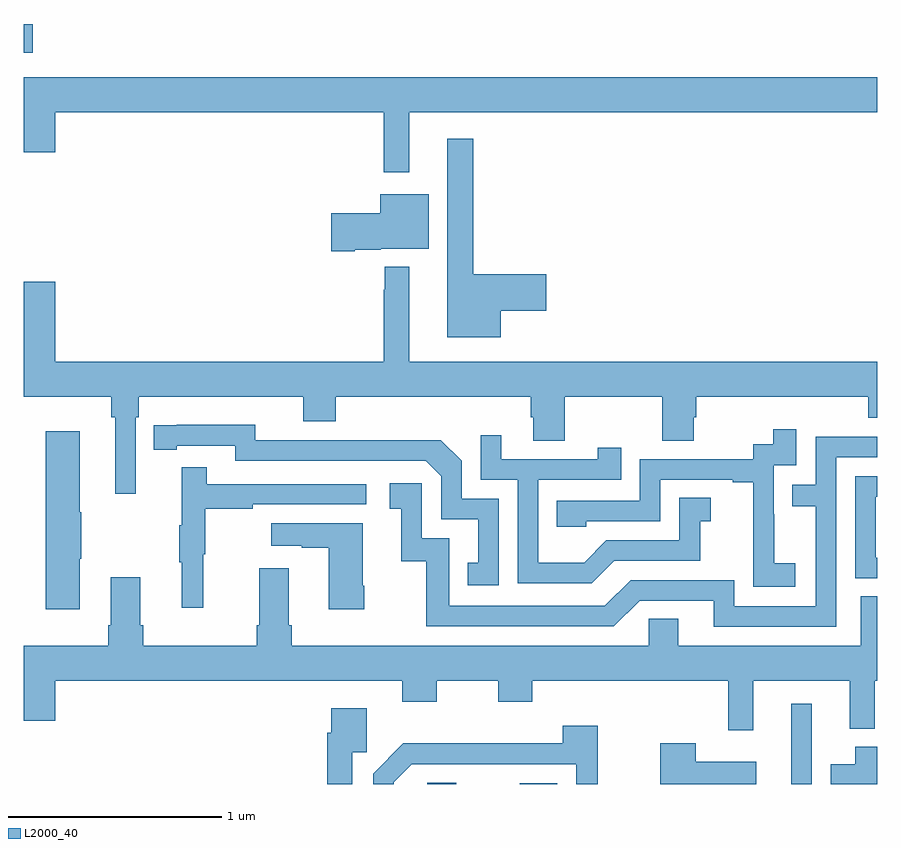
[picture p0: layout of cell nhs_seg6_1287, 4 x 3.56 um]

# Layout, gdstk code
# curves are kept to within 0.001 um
import gdstk
lib = gdstk.Library(unit=1e-6, precision=1e-09)
def R(c, l, rs):  # rectangles x0, y0, x1, y1
    for r in rs: c.add(gdstk.rectangle(r[:2], r[2:], *l))
def P(c, l, *ps):  # polygons
    for p in ps: c.add(gdstk.Polygon(p, *l))
L2000_40 = (2000, 40)

nhs_seg6_1287 = lib.new_cell('nhs_seg6_1287')
R(nhs_seg6_1287, L2000_40, [(190.89,965.5,191.026,965.507), (191.324,965.5,191.5,965.503), (192.596,965.5,192.693,965.875), (189,968.927,189.043,969.062)])
P(nhs_seg6_1287, L2000_40, [(190.807,968.648),(193,968.648),(193,968.812),(189,968.812),(189,968.46),(189.148,968.46),(189.148,968.648),(190.686,968.648),(190.686,968.367),(190.807,968.367)],
  [(191.236,967.718),(191.449,967.718),(191.449,967.889),(191.107,967.889),(191.107,968.524),(190.985,968.524),(190.985,967.595),(191.236,967.595)],
  [(190.552,968.003),(190.674,968.003),(190.674,968.009),(190.897,968.009),(190.897,968.263),(190.67,968.263),(190.67,968.175),(190.44,968.175),(190.44,967.997),(190.552,967.997)],
  [(189.525,967.22),(189.539,967.22),(189.539,967.316),(190.31,967.316),(190.31,967.199),(190.463,967.199),(190.463,967.316),(191.375,967.316),(191.375,967.218),(191.387,967.218),(191.387,967.108),(191.535,967.108),(191.535,967.316),(191.992,967.316),(191.992,967.108),(192.139,967.108),(192.139,967.218),(192.152,967.218),(192.152,967.316),(192.959,967.316),(192.959,967.217),(193,967.217),(193,967.48),(190.807,967.48),(190.807,967.924),(190.693,967.924),(190.693,967.817),(190.686,967.817),(190.686,967.48),(189.148,967.48),(189.148,967.855),(189,967.855),(189,967.316),(189.409,967.316),(189.409,967.22),(189.428,967.22),(189.428,966.861),(189.525,966.861)],
  [(191.226,966.837),(191.052,966.837),(191.052,967.014),(190.954,967.112),(190.546,967.112),(190.546,967.11),(190.086,967.11),(190.086,967.183),(189.61,967.182),(189.61,967.066),(189.718,967.066),(189.718,967.086),(189.99,967.086),(189.99,967.014),(190.884,967.014),(190.956,966.942),(190.956,966.741),(191.129,966.741),(191.129,966.537),(191.08,966.537),(191.08,966.432),(191.226,966.432)],
  [(192.616,966.535),(192.518,966.535),(192.518,966.764),(192.516,966.764),(192.516,966.993),(192.621,966.993),(192.621,967.162),(192.513,967.162),(192.513,967.092),(192.42,967.092),(192.42,967.023),(191.886,967.023),(191.886,966.828),(191.497,966.828),(191.497,966.705),(191.637,966.705),(191.637,966.732),(191.982,966.732),(191.982,966.927),(192.323,966.927),(192.323,966.915),(192.419,966.915),(192.419,966.631),(192.418,966.631),(192.418,966.425),(192.616,966.425)],
  [(189.262,966.556),(189.27,966.556),(189.27,966.773),(189.262,966.773),(189.262,967.153),(189.104,967.153),(189.104,966.318),(189.262,966.318)],
  [(191.767,966.546),(192.171,966.546),(192.171,966.731),(192.22,966.731),(192.22,966.841),(192.072,966.841),(192.072,966.642),(191.73,966.642),(191.626,966.538),(191.412,966.538),(191.412,966.927),(191.801,966.927),(191.801,967.075),(191.69,967.075),(191.69,967.023),(191.239,967.023),(191.239,967.135),(191.142,967.135),(191.142,966.927),(191.316,966.927),(191.316,966.441),(191.662,966.441)],
  [(192.807,967.032),(193,967.032),(193,967.128),(192.711,967.128),(192.711,966.903),(192.601,966.903),(192.601,966.802),(192.711,966.802),(192.711,966.333),(192.33,966.333),(192.33,966.456),(191.844,966.456),(191.724,966.336),(190.995,966.336),(190.995,966.651),(190.866,966.651),(190.866,966.91),(190.716,966.91),(190.716,966.789),(190.769,966.789),(190.769,966.543),(190.887,966.543),(190.887,966.24),(191.766,966.24),(191.886,966.36),(192.233,966.36),(192.233,966.237),(192.807,966.237)],
  [(189.842,966.576),(189.85,966.576),(189.85,966.79),(190.073,966.79),(190.073,966.81),(190.606,966.81),(190.606,966.906),(189.857,966.906),(189.857,966.985),(189.74,966.985),(189.74,966.713),(189.729,966.713),(189.729,966.539),(189.74,966.539),(189.74,966.327),(189.842,966.327)],
  [(193,966.561),(192.993,966.561),(192.993,966.846),(193,966.846),(193,966.942),(192.897,966.942),(192.897,966.465),(193,966.465)],
  [(190.596,966.43),(190.588,966.43),(190.588,966.721),(190.161,966.721),(190.161,966.617),(190.304,966.617),(190.304,966.607),(190.43,966.607),(190.43,966.318),(190.596,966.318)],
  [(192.419,965.984),(192.872,965.984),(192.872,965.759),(192.989,965.759),(192.989,965.984),(193,965.984),(193,966.38),(192.923,966.38),(192.923,966.148),(192.067,966.148),(192.067,966.275),(191.928,966.275),(191.928,966.148),(190.256,966.148),(190.256,966.244),(190.243,966.244),(190.243,966.511),(190.103,966.511),(190.103,966.244),(190.091,966.244),(190.091,966.148),(189.56,966.148),(189.56,966.244),(189.547,966.244),(189.547,966.469),(189.407,966.469),(189.407,966.244),(189.395,966.244),(189.395,966.148),(189,966.148),(189,965.796),(189.148,965.796),(189.148,965.984),(190.775,965.984),(190.775,965.885),(190.935,965.885),(190.935,965.984),(191.224,965.984),(191.224,965.885),(191.384,965.885),(191.384,965.984),(192.301,965.984),(192.301,965.751),(192.419,965.751)],
  [(190.539,965.649),(190.608,965.649),(190.608,965.854),(190.442,965.854),(190.442,965.741),(190.423,965.741),(190.423,965.5),(190.539,965.5)],
  [(190.734,965.508),(190.818,965.592),(191.589,965.592),(191.589,965.5),(191.69,965.5),(191.69,965.773),(191.525,965.773),(191.525,965.69),(190.779,965.69),(190.638,965.548),(190.638,965.5),(190.734,965.5)],
  [(192.433,965.605),(192.15,965.605),(192.15,965.692),(191.984,965.692),(191.984,965.5),(192.433,965.5)],
  [(193,965.674),(192.896,965.674),(192.896,965.593),(192.782,965.593),(192.782,965.5),(193,965.5)])

lib.write_gds('nhs_seg6_1287.gds')
